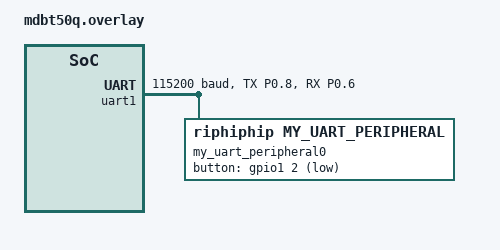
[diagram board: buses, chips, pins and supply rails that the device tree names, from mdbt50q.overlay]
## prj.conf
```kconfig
# Enable custom device driver
CONFIG_UART_INTERRUPT_DRIVEN=y
CONFIG_MY_UART_PERIPHERAL=y
```

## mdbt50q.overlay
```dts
// To get started, press Ctrl+Space to bring up the completion menu and view the available nodes.

// You can also use the buttons in the sidebar to perform actions on nodes.
// Actions currently available include:

// * Enabling / disabling the node
// * Adding the bus to a bus
// * Removing the node
// * Connecting ADC channels

// For more help, browse the DeviceTree documentation at https://docs.zephyrproject.org/latest/guides/dts/index.html
// You can also visit the nRF DeviceTree extension documentation at https://nrfconnect.github.io/vscode-nrf-connect/devicetree/nrfdevicetree.html
&uart1 {
    compatible = "nordic,nrf-uarte";
    reg = <0x40028000 0x1000>;
    interrupts = <40 NRF_DEFAULT_IRQ_PRIORITY>;
    status = "okay";
    current-speed = <115200>;
    
    pinctrl-0 = <&uart1_default>;
	pinctrl-1 = <&uart1_sleep>;
	pinctrl-names = "default", "sleep";
    
    my_device: my_uart_peripheral0 {
        compatible = "riphiphip,my_uart_peripheral";
        status="okay";
        label = "my_uart_peripheral0";
        button-gpios = <&gpio1 2 (GPIO_PULL_UP | GPIO_ACTIVE_LOW)>; // Button 1 on dk
        initial-string = "Hello, World!";
    };
};

&pinctrl {
    uart1_default: uart1_default {
		group1 {
			psels = <NRF_PSEL(UART_TX, 0, 8)>,
				<NRF_PSEL(UART_RX, 0, 6)>;
		};
	};

	uart1_sleep: uart1_sleep {
		group1 {
			psels = <NRF_PSEL(UART_TX, 0, 8)>,
				<NRF_PSEL(UART_RX, 0, 6)>;
			low-power-enable;
		};
	};
};
```

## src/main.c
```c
#include <zephyr/zephyr.h>
#include <zephyr/devicetree.h>
#include <zephyr/device.h>

#include "api.h"

struct counter
{
    int strings;
    int overflows;
};

static struct counter tracker = {0};

void peripheral_callback(const struct device *dev, char *data, size_t length, bool is_string, void *user_data)
{
    struct counter *c = (struct counter *)user_data;
    if (is_string)
    {
        printk("Recieved string \"%s\"\n", data);
        c->strings++;
    } else {
        printk("Buffer full. Recieved fragment %.*s\n", length, data);
        c->overflows++;
    }
    printk("Strings: %d\nOverflows: %d\n", c->strings, c->overflows);
}


void main(void)
{
    const struct device *dev = device_get_binding(DT_LABEL(DT_NODELABEL(my_device)));
    my_uart_set_callback(dev, peripheral_callback, &tracker);
}
```
